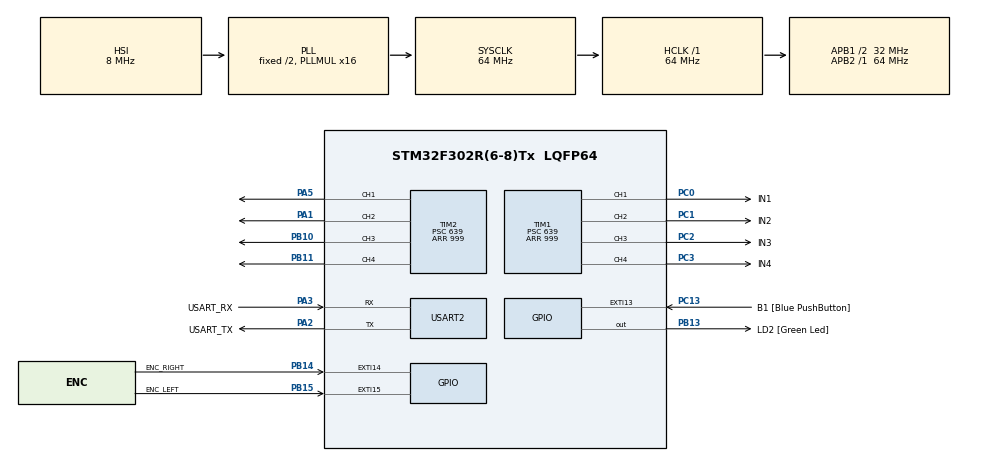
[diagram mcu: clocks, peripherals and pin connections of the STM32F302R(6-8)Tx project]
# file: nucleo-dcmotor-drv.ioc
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Dma.Request0=USART2_RX
Dma.Request1=USART2_TX
Dma.USART2_RX.0.Direction=DMA_PERIPH_TO_MEMORY
Dma.USART2_RX.0.Instance=DMA1_Channel6
Dma.USART2_RX.0.MemDataAlignment=DMA_MDATAALIGN_BYTE
Dma.USART2_RX.0.MemInc=DMA_MINC_ENABLE
Dma.USART2_RX.0.Mode=DMA_CIRCULAR
Dma.USART2_RX.0.PeriphDataAlignment=DMA_PDATAALIGN_BYTE
Dma.USART2_RX.0.PeriphInc=DMA_PINC_DISABLE
Dma.USART2_RX.0.Priority=DMA_PRIORITY_LOW
Dma.USART2_TX.1.Direction=DMA_MEMORY_TO_PERIPH
Dma.USART2_TX.1.Instance=DMA1_Channel7
Dma.USART2_TX.1.MemDataAlignment=DMA_MDATAALIGN_BYTE
Dma.USART2_TX.1.MemInc=DMA_MINC_ENABLE
Dma.USART2_TX.1.Mode=DMA_NORMAL
Dma.USART2_TX.1.PeriphDataAlignment=DMA_PDATAALIGN_BYTE
Dma.USART2_TX.1.PeriphInc=DMA_PINC_DISABLE
Dma.USART2_TX.1.Priority=DMA_PRIORITY_LOW
Mcu.Family=STM32F3
Mcu.Name=STM32F302R(6-8)Tx
Mcu.Package=LQFP64
NVIC.DMA1_Channel6_IRQn=true\:0\:0\:false\:false\:true\:false\:true
NVIC.DMA1_Channel7_IRQn=true\:0\:0\:false\:false\:true\:false\:true
NVIC.EXTI15_10_IRQn=true\:0\:0\:false\:false\:true\:true\:true
NVIC.PriorityGroup=NVIC_PRIORITYGROUP_0
NVIC.TIM1_BRK_TIM15_IRQn=true\:0\:0\:false\:false\:true\:true\:true
NVIC.TIM6_DAC_IRQn=true\:0\:0\:false\:false\:true\:true\:true
NVIC.USART2_IRQn=true\:0\:0\:false\:false\:true\:true\:true
PA1.Signal=S_TIM2_CH2
PA13.GPIO_Label=TMS
PA13.Mode=Serial_Wire
PA13.Signal=SYS_JTMS-SWDIO
PA14.GPIO_Label=TCK
PA14.Mode=Serial_Wire
PA14.Signal=SYS_JTCK-SWCLK
PA2.GPIO_Label=USART_TX
PA2.GPIO_Mode=GPIO_MODE_AF_PP
PA2.GPIO_PuPd=GPIO_NOPULL
PA2.GPIO_Speed=GPIO_SPEED_FREQ_LOW
PA2.Mode=Asynchronous
PA2.Signal=USART2_TX
PA3.GPIO_Label=USART_RX
PA3.GPIO_Mode=GPIO_MODE_AF_PP
PA3.GPIO_PuPd=GPIO_NOPULL
PA3.GPIO_Speed=GPIO_SPEED_FREQ_LOW
PA3.Mode=Asynchronous
PA3.Signal=USART2_RX
PA5.Signal=S_TIM2_CH1_ETR
PB10.Signal=S_TIM2_CH3
PB11.Signal=S_TIM2_CH4
PB13.GPIO_Label=LD2 [Green Led]
PB13.Signal=GPIO_Output
PB14.GPIO_Label=ENC_RIGHT
PB14.GPIO_ModeDefaultEXTI=GPIO_MODE_IT_RISING_FALLING
PB14.Signal=GPXTI14
PB15.GPIO_Label=ENC_LEFT
PB15.GPIO_ModeDefaultEXTI=GPIO_MODE_IT_RISING_FALLING
PB15.Signal=GPXTI15
PB3.GPIO_Label=SWO
PB3.Mode=Trace_Asynchronous_SW
PB3.Signal=SYS_JTDO-TRACESWO
PC0.GPIO_Label=IN1
PC0.Signal=S_TIM1_CH1
PC1.GPIO_Label=IN2
PC1.Signal=S_TIM1_CH2
PC13.GPIO_Label=B1 [Blue PushButton]
PC13.GPIO_ModeDefaultEXTI=GPIO_MODE_IT_FALLING
PC13.Signal=GPXTI13
PC14\ -\ OSC32_IN.Mode=LSE-External-Oscillator
PC14\ -\ OSC32_IN.Signal=RCC_OSC32_IN
PC15\ -\ OSC32_OUT.Mode=LSE-External-Oscillator
PC15\ -\ OSC32_OUT.Signal=RCC_OSC32_OUT
PC2.GPIO_Label=IN3
PC2.Signal=S_TIM1_CH3
PC3.GPIO_Label=IN4
PC3.Signal=S_TIM1_CH4
PF0-OSC_IN.Mode=HSE-External-Clock-Source
PF0-OSC_IN.Signal=RCC_OSC_IN
PF1-OSC_OUT.Signal=RCC_OSC_OUT
ProjectManager.HeapSize=0x200
ProjectManager.StackSize=0x400
ProjectManager.TargetToolchain=STM32CubeIDE
RCC.AHBFreq_Value=64000000
RCC.APB1CLKDivider=RCC_HCLK_DIV2
RCC.APB1Freq_Value=32000000
RCC.APB1TimFreq_Value=64000000
RCC.APB2Freq_Value=64000000
RCC.APB2TimFreq_Value=64000000
RCC.CortexFreq_Value=64000000
RCC.HCLKFreq_Value=64000000
RCC.HSE_VALUE=8000000
RCC.HSI_VALUE=8000000
RCC.PLLM=8
RCC.PLLMUL=RCC_PLL_MUL16
RCC.PLLN=336
RCC.PLLP=RCC_PLLP_DIV4
RCC.PLLQ=7
RCC.RCC_PLLsource_Clock_Source_FROM_HSE=RCC_HSE_PREDIV_DIV2
RCC.SYSCLKFreq_VALUE=64000000
RCC.SYSCLKSourceVirtual=RCC_SYSCLKSOURCE_PLLCLK
RCC.USBFreq_Value=64000000
SH.S_TIM1_CH1.0=TIM1_CH1,PWM Generation1 CH1
SH.S_TIM1_CH2.0=TIM1_CH2,PWM Generation2 CH2
SH.S_TIM1_CH3.0=TIM1_CH3,PWM Generation3 CH3
SH.S_TIM1_CH4.0=TIM1_CH4,PWM Generation4 CH4
SH.S_TIM2_CH1_ETR.0=TIM2_CH1,PWM Generation1 CH1
SH.S_TIM2_CH2.0=TIM2_CH2,PWM Generation2 CH2
SH.S_TIM2_CH3.0=TIM2_CH3,PWM Generation3 CH3
SH.S_TIM2_CH4.0=TIM2_CH4,PWM Generation4 CH4
TIM1.AutoReloadPreload=TIM_AUTORELOAD_PRELOAD_ENABLE
TIM1.Channel-PWM\ Generation1\ CH1=TIM_CHANNEL_1
TIM1.Channel-PWM\ Generation2\ CH2=TIM_CHANNEL_2
TIM1.Channel-PWM\ Generation3\ CH3=TIM_CHANNEL_3
TIM1.Channel-PWM\ Generation4\ CH4=TIM_CHANNEL_4
TIM1.Period=999
TIM1.Prescaler=639
TIM2.AutoReloadPreload=TIM_AUTORELOAD_PRELOAD_ENABLE
TIM2.Channel-PWM\ Generation1\ CH1=TIM_CHANNEL_1
TIM2.Channel-PWM\ Generation2\ CH2=TIM_CHANNEL_2
TIM2.Channel-PWM\ Generation3\ CH3=TIM_CHANNEL_3
TIM2.Channel-PWM\ Generation4\ CH4=TIM_CHANNEL_4
TIM2.Period=999
TIM2.Prescaler=639
TIM6.Period=50000 - 1
TIM6.Prescaler=128 - 1
USART2.VirtualMode-Asynchronous=VM_ASYNC
VP_TIM1_VS_ClockSourceINT.Mode=Internal
VP_TIM2_VS_ClockSourceINT.Mode=Internal
VP_TIM6_VS_ClockSourceINT.Mode=Enable_Timer
board=NUCLEO-F302R8

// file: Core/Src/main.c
/* USER CODE BEGIN Header */
/**
 ******************************************************************************
 * @file           : main.c
 * @brief          : Main program body
 ******************************************************************************
 * @attention
 * DC Motors using DRV8833 Motor Driver
 * <h2><center>&copy; Copyright (c) 2021 STMicroelectronics.
 * All rights reserved.</center></h2>
 *
 * This software component is licensed by ST under BSD 3-Clause license,
 * the "License"; You may not use this file except in compliance with the
 * License. You may obtain a copy of the License at:
 *                        opensource.org/licenses/BSD-3-Clause
 *
 ******************************************************************************
 */
/* USER CODE END Header */
#include "main.h"

TIM_HandleTypeDef htim1;
TIM_HandleTypeDef htim2;
TIM_HandleTypeDef htim6;

UART_HandleTypeDef huart2;
DMA_HandleTypeDef hdma_usart2_rx;
DMA_HandleTypeDef hdma_usart2_tx;

void SystemClock_Config(void);
static void MX_GPIO_Init(void);
static void MX_DMA_Init(void);
static void MX_USART2_UART_Init(void);
static void MX_TIM1_Init(void);
static void MX_TIM2_Init(void);
static void MX_TIM6_Init(void);
/* USER CODE BEGIN PFP */
void stop();
void move(int x, int s_left, int s_right);
void rotate(int x, int s_left, int s_right);
void spin(int x, int s_left, int s_right);

//float target_current;
/* USER CODE END PFP */

/* USER CODE BEGIN 0 */

// PID Controller
#define MOTOR_KP 0.2
#define MOTOR_KI 0
#define MOTOR_KD 0.1

typedef struct PID_t {
	float integral;
	float derivative;
	float last_error;
	float error;
} PID_t;

PID_t pid_left = { .integral = 0, .derivative = 0, .last_error = 0, .error = 0 };
PID_t pid_right = { .integral = 0, .derivative = 0, .last_error = 0, .error = 0 };

volatile uint32_t move_type = 0;
volatile int16_t speed_left = 0;
volatile int16_t speed_right = 0;
volatile uint16_t movement = 0;

volatile float target_rpm = 50.0;
uint8_t tx_data[4];
uint8_t rx_data[10];

extern float speed_rpm_right;
extern float speed_rpm_left;

extern uint32_t ticks_left;
extern uint32_t ticks_right;

void reset_pid() {
	pid_left.integral = 0;
	pid_left.derivative = 0;
	pid_left.last_error = 0;
	pid_right.integral = 0;
	pid_right.derivative = 0;
	pid_right.last_error = 0;
}

int16_t update_pid(PID_t *pid, float current_rpm, uint32_t dt) {
	pid->error = target_rpm - current_rpm;
	pid->integral += pid->error * dt / 1000.0;
	pid->derivative = ((pid->error - pid->last_error) * 1000.0 / dt);
	float result = MOTOR_KP * pid->error +
				   MOTOR_KI * pid->integral +
				   MOTOR_KD * pid->derivative;
	pid->last_error = pid->error;
//	if (result >= 600) {
//		return 600;
//	}
//	if (result <= 0) {
//		return 0;
//	}
	return (int16_t) result;
}

void stop() {
	/***
	 * delay: delay the code for milliseconds
	 */
	TIM1->CCR1 = 0;
	TIM1->CCR2 = 0;
	TIM1->CCR3 = 0;
	TIM1->CCR4 = 0;

	TIM2->CCR1 = 0;
	TIM2->CCR2 = 0;
	TIM2->CCR3 = 0;
	TIM2->CCR4 = 0;
	reset_pid();
}

// back left wheel: TIM2 CCR1 and 2
// back right wheel: TIM2 CCR3 and 4
// front right wheel: TIM1 CCR 3 and 4
// front left wheel: TIM2 CCR 1 and 2
void move(int x, int s_left, int s_right) {
	/***
	 * x: direction. x = 1 to move forward and x = 0 to reverse
	 * s: speed or duty cycle
	 * delay: delay the code for milliseconds
	 */
	uint16_t output_left[] = { s_left, 0 };
	uint16_t output_right[] = { s_right, 0 };
	int i;
	i = (x == 1 ? 1 : 0);
	TIM1->CCR1 = output_left[!i];
	TIM1->CCR2 = output_left[i];
	TIM1->CCR3 = output_right[!i];
	TIM1->CCR4 = output_right[i];

	TIM2->CCR1 = output_left[!i];
	TIM2->CCR2 = output_left[i];
	TIM2->CCR3 = output_right[!i];
	TIM2->CCR4 = output_right[i];
}

void rotate(int x, int s_left, int s_right) {
	/***
	 * x: direction. x = 1 to rotate left and x = 0 to rotate right
	 * s: speed or duty cycle
	 * delay: delay the code for milliseconds
	 */
	uint16_t output_left[] = { s_left, 0 };
	uint16_t output_right[] = { s_right, 0 };
	int i = 1;
	i = (x == 1 ? 1 : 0);
	TIM1->CCR1 = output_left[i];
	TIM1->CCR2 = output_left[!i];
	TIM1->CCR3 = output_right[!i];
	TIM1->CCR4 = output_right[i];

	TIM2->CCR1 = output_left[i];
	TIM2->CCR2 = output_left[!i];
	TIM2->CCR3 = output_right[!i];
	TIM2->CCR4 = output_right[i];
}

void spin(int x, int s_left, int s_right) {
	/***
	 * x: direction. x = 1 to rotate left and x = 0 to rotate right
	 * s: speed or duty cycle
	 * delay: delay the code for milliseconds
	 */
	uint16_t output_left[] = { s_left, 0 };
	uint16_t output_right[] = { s_right, 0 };
	int i = 1;
	i = (x == 1 ? 1 : 0);
	TIM1->CCR1 = output_left[i];
	TIM1->CCR2 = output_left[!i];
	TIM1->CCR3 = output_right[!i];
	TIM1->CCR4 = output_right[i];

	TIM2->CCR1 = output_left[i];
	TIM2->CCR2 = output_left[!i];
	TIM2->CCR3 = output_right[!i];
	TIM2->CCR4 = output_right[i];
}

void HAL_UART_RxCpltCallback(UART_HandleTypeDef *huart) {
	/* Prevent unused argument(s) compilation warning */

	/* NOTE : This function should not be modified, when the callback is needed,
	 the HAL_UART_RxCpltCallback can be implemented in the user file.
	 */

	uint8_t buffer_1 = rx_data[0];
	uint8_t buffer_2 = rx_data[1];
	/*
	 * 16-bit value
	 * received_data[9:0] is for speed
	 * received_data[15:10] is free we use it to represent movement type
	 */
	uint8_t move_bits = buffer_1;
	uint8_t speed_bits = buffer_2;

	switch (speed_bits) {
	case 'h':
		target_rpm = 100;
		break;
	case 'm':
		target_rpm = 50;
		break;
	case 'l':
		target_rpm = 25;
		break;
	case 's':
		target_rpm = 0;
		break;
	default:
		target_rpm = 50;
		break;
	}

	switch (move_bits) {
	case 'b': //Forward
		move_type = 1;
		speed_left = speed_right = 400;
		break;
	case 'c': //Reverse
		move_type = 2;
		speed_left = speed_right = 400;
		break;
	case 'd': //Left
		move_type = 3;
		speed_left = speed_right = 400;
		break;
	case 'e': //Right
		move_type = 4;
		speed_left = speed_right = 400;
		break;
	case 's': //Stop
		move_type = 0;
		break;
	default: //Stop for other characters
		move_type = 0;
		break;
	}

}

/* USER CODE END 0 */

int main(void)
{

  /* MCU Configuration--------------------------------------------------------*/

  /* Reset of all peripherals, Initializes the Flash interface and the Systick. */
  HAL_Init();

  /* Configure the system clock */
  SystemClock_Config();

  /* Initialize all configured peripherals */
  MX_GPIO_Init();
  MX_DMA_Init();
  MX_USART2_UART_Init();
  MX_TIM1_Init();
  MX_TIM2_Init();
  MX_TIM6_Init();
  /* USER CODE BEGIN 2 */
	HAL_TIM_PWM_Start(&htim1, TIM_CHANNEL_1);
	HAL_TIM_PWM_Start(&htim1, TIM_CHANNEL_2);
	HAL_TIM_PWM_Start(&htim1, TIM_CHANNEL_3);
	HAL_TIM_PWM_Start(&htim1, TIM_CHANNEL_4);

	HAL_TIM_PWM_Start(&htim2, TIM_CHANNEL_1);
	HAL_TIM_PWM_Start(&htim2, TIM_CHANNEL_2);
	HAL_TIM_PWM_Start(&htim2, TIM_CHANNEL_3);
	HAL_TIM_PWM_Start(&htim2, TIM_CHANNEL_4);

	HAL_UART_Receive_DMA(&huart2, rx_data, 2);

  /* USER CODE END 2 */

  /* Infinite loop */
  /* USER CODE BEGIN WHILE */
	uint32_t last_timestamp = 0;
	uint32_t timestamp, dt;

	while (1) {
		timestamp = HAL_GetTick();
		dt = timestamp - last_timestamp;
		speed_left += update_pid(&pid_left, speed_rpm_left, dt);
		speed_right += update_pid(&pid_right, speed_rpm_right, dt);
		speed_left = speed_left > 600 ? 600 : (speed_left < 0 ? 0 : speed_left);
		speed_right = speed_right > 600 ? 600 : (speed_right < 0 ? 0 : speed_right);
		//MAX CCR is 600. Don't give beyond this value
		if (move_type == 0) {
			stop();
//			move(1, speed_left, speed_right);
		}
		if (move_type == 1) {
			move(1, speed_left, speed_right);
		}
		if (move_type == 2) {
			move(0, speed_left, speed_right);
		}
		if (move_type == 3) {
			rotate(1, speed_left, speed_right);
		}
		if (move_type == 4) {
			rotate(0, speed_left, speed_right);
		}
    /* USER CODE END WHILE */

    /* USER CODE BEGIN 3 */

		last_timestamp = timestamp;
		HAL_Delay(20);
	}

	//Kind of useless but just in case
	HAL_TIM_PWM_Stop(&htim1, TIM_CHANNEL_1);
	HAL_TIM_PWM_Stop(&htim1, TIM_CHANNEL_2);
	HAL_TIM_PWM_Stop(&htim1, TIM_CHANNEL_3);
	HAL_TIM_PWM_Stop(&htim1, TIM_CHANNEL_4);

	HAL_TIM_PWM_Stop(&htim2, TIM_CHANNEL_1);
	HAL_TIM_PWM_Stop(&htim2, TIM_CHANNEL_2);
	HAL_TIM_PWM_Stop(&htim2, TIM_CHANNEL_3);
	HAL_TIM_PWM_Stop(&htim2, TIM_CHANNEL_4);
  /* USER CODE END 3 */
}

void SystemClock_Config(void)
{
  RCC_OscInitTypeDef RCC_OscInitStruct = {0};
  RCC_ClkInitTypeDef RCC_ClkInitStruct = {0};
  RCC_PeriphCLKInitTypeDef PeriphClkInit = {0};

  /** Initializes the RCC Oscillators according to the specified parameters
  * in the RCC_OscInitTypeDef structure.
  */
  RCC_OscInitStruct.OscillatorType = RCC_OSCILLATORTYPE_HSI;
  RCC_OscInitStruct.HSIState = RCC_HSI_ON;
  RCC_OscInitStruct.HSICalibrationValue = RCC_HSICALIBRATION_DEFAULT;
  RCC_OscInitStruct.PLL.PLLState = RCC_PLL_ON;
  RCC_OscInitStruct.PLL.PLLSource = RCC_PLLSOURCE_HSI;
  RCC_OscInitStruct.PLL.PLLMUL = RCC_PLL_MUL16;
  if (HAL_RCC_OscConfig(&RCC_OscInitStruct) != HAL_OK)
  {
    Error_Handler();
  }
  /** Initializes the CPU, AHB and APB buses clocks
  */
  RCC_ClkInitStruct.ClockType = RCC_CLOCKTYPE_HCLK|RCC_CLOCKTYPE_SYSCLK
                              |RCC_CLOCKTYPE_PCLK1|RCC_CLOCKTYPE_PCLK2;
  RCC_ClkInitStruct.SYSCLKSource = RCC_SYSCLKSOURCE_PLLCLK;
  RCC_ClkInitStruct.AHBCLKDivider = RCC_SYSCLK_DIV1;
  RCC_ClkInitStruct.APB1CLKDivider = RCC_HCLK_DIV2;
  RCC_ClkInitStruct.APB2CLKDivider = RCC_HCLK_DIV1;

  if (HAL_RCC_ClockConfig(&RCC_ClkInitStruct, FLASH_LATENCY_2) != HAL_OK)
  {
    Error_Handler();
  }
  PeriphClkInit.PeriphClockSelection = RCC_PERIPHCLK_TIM1;
  PeriphClkInit.Tim1ClockSelection = RCC_TIM1CLK_HCLK;
  if (HAL_RCCEx_PeriphCLKConfig(&PeriphClkInit) != HAL_OK)
  {
    Error_Handler();
  }
}

static void MX_TIM1_Init(void)
{

  TIM_ClockConfigTypeDef sClockSourceConfig = {0};
  TIM_MasterConfigTypeDef sMasterConfig = {0};
  TIM_OC_InitTypeDef sConfigOC = {0};
  TIM_BreakDeadTimeConfigTypeDef sBreakDeadTimeConfig = {0};

  htim1.Instance = TIM1;
  htim1.Init.Prescaler = 639;
  htim1.Init.CounterMode = TIM_COUNTERMODE_UP;
  htim1.Init.Period = 999;
  htim1.Init.ClockDivision = TIM_CLOCKDIVISION_DIV1;
  htim1.Init.RepetitionCounter = 0;
  htim1.Init.AutoReloadPreload = TIM_AUTORELOAD_PRELOAD_ENABLE;
  if (HAL_TIM_Base_Init(&htim1) != HAL_OK)
  {
    Error_Handler();
  }
  sClockSourceConfig.ClockSource = TIM_CLOCKSOURCE_INTERNAL;
  if (HAL_TIM_ConfigClockSource(&htim1, &sClockSourceConfig) != HAL_OK)
  {
    Error_Handler();
  }
  if (HAL_TIM_PWM_Init(&htim1) != HAL_OK)
  {
    Error_Handler();
  }
  sMasterConfig.MasterOutputTrigger = TIM_TRGO_RESET;
  sMasterConfig.MasterOutputTrigger2 = TIM_TRGO2_RESET;
  sMasterConfig.MasterSlaveMode = TIM_MASTERSLAVEMODE_DISABLE;
  if (HAL_TIMEx_MasterConfigSynchronization(&htim1, &sMasterConfig) != HAL_OK)
  {
    Error_Handler();
  }
  sConfigOC.OCMode = TIM_OCMODE_PWM1;
  sConfigOC.Pulse = 0;
  sConfigOC.OCPolarity = TIM_OCPOLARITY_HIGH;
  sConfigOC.OCNPolarity = TIM_OCNPOLARITY_HIGH;
  sConfigOC.OCFastMode = TIM_OCFAST_DISABLE;
  sConfigOC.OCIdleState = TIM_OCIDLESTATE_RESET;
  sConfigOC.OCNIdleState = TIM_OCNIDLESTATE_RESET;
  if (HAL_TIM_PWM_ConfigChannel(&htim1, &sConfigOC, TIM_CHANNEL_1) != HAL_OK)
  {
    Error_Handler();
  }
  if (HAL_TIM_PWM_ConfigChannel(&htim1, &sConfigOC, TIM_CHANNEL_2) != HAL_OK)
  {
    Error_Handler();
  }
  if (HAL_TIM_PWM_ConfigChannel(&htim1, &sConfigOC, TIM_CHANNEL_3) != HAL_OK)
  {
    Error_Handler();
  }
  if (HAL_TIM_PWM_ConfigChannel(&htim1, &sConfigOC, TIM_CHANNEL_4) != HAL_OK)
  {
    Error_Handler();
  }
  sBreakDeadTimeConfig.OffStateRunMode = TIM_OSSR_DISABLE;
  sBreakDeadTimeConfig.OffStateIDLEMode = TIM_OSSI_DISABLE;
  sBreakDeadTimeConfig.LockLevel = TIM_LOCKLEVEL_OFF;
  sBreakDeadTimeConfig.DeadTime = 0;
  sBreakDeadTimeConfig.BreakState = TIM_BREAK_DISABLE;
  sBreakDeadTimeConfig.BreakPolarity = TIM_BREAKPOLARITY_HIGH;
  sBreakDeadTimeConfig.BreakFilter = 0;
  sBreakDeadTimeConfig.Break2State = TIM_BREAK2_DISABLE;
  sBreakDeadTimeConfig.Break2Polarity = TIM_BREAK2POLARITY_HIGH;
  sBreakDeadTimeConfig.Break2Filter = 0;
  sBreakDeadTimeConfig.AutomaticOutput = TIM_AUTOMATICOUTPUT_DISABLE;
  if (HAL_TIMEx_ConfigBreakDeadTime(&htim1, &sBreakDeadTimeConfig) != HAL_OK)
  {
    Error_Handler();
  }
  HAL_TIM_MspPostInit(&htim1);

}

static void MX_TIM2_Init(void)
{

  TIM_ClockConfigTypeDef sClockSourceConfig = {0};
  TIM_MasterConfigTypeDef sMasterConfig = {0};
  TIM_OC_InitTypeDef sConfigOC = {0};

  htim2.Instance = TIM2;
  htim2.Init.Prescaler = 639;
  htim2.Init.CounterMode = TIM_COUNTERMODE_UP;
  htim2.Init.Period = 999;
  htim2.Init.ClockDivision = TIM_CLOCKDIVISION_DIV1;
  htim2.Init.AutoReloadPreload = TIM_AUTORELOAD_PRELOAD_ENABLE;
  if (HAL_TIM_Base_Init(&htim2) != HAL_OK)
  {
    Error_Handler();
  }
  sClockSourceConfig.ClockSource = TIM_CLOCKSOURCE_INTERNAL;
  if (HAL_TIM_ConfigClockSource(&htim2, &sClockSourceConfig) != HAL_OK)
  {
    Error_Handler();
  }
  if (HAL_TIM_PWM_Init(&htim2) != HAL_OK)
  {
    Error_Handler();
  }
  sMasterConfig.MasterOutputTrigger = TIM_TRGO_RESET;
  sMasterConfig.MasterSlaveMode = TIM_MASTERSLAVEMODE_DISABLE;
  if (HAL_TIMEx_MasterConfigSynchronization(&htim2, &sMasterConfig) != HAL_OK)
  {
    Error_Handler();
  }
  sConfigOC.OCMode = TIM_OCMODE_PWM1;
  sConfigOC.Pulse = 0;
  sConfigOC.OCPolarity = TIM_OCPOLARITY_HIGH;
  sConfigOC.OCFastMode = TIM_OCFAST_DISABLE;
  if (HAL_TIM_PWM_ConfigChannel(&htim2, &sConfigOC, TIM_CHANNEL_1) != HAL_OK)
  {
    Error_Handler();
  }
  if (HAL_TIM_PWM_ConfigChannel(&htim2, &sConfigOC, TIM_CHANNEL_2) != HAL_OK)
  {
    Error_Handler();
  }
  if (HAL_TIM_PWM_ConfigChannel(&htim2, &sConfigOC, TIM_CHANNEL_3) != HAL_OK)
  {
    Error_Handler();
  }
  if (HAL_TIM_PWM_ConfigChannel(&htim2, &sConfigOC, TIM_CHANNEL_4) != HAL_OK)
  {
    Error_Handler();
  }
  HAL_TIM_MspPostInit(&htim2);

}

static void MX_TIM6_Init(void)
{

  TIM_MasterConfigTypeDef sMasterConfig = {0};

  htim6.Instance = TIM6;
  htim6.Init.Prescaler = 128 - 1;
  htim6.Init.CounterMode = TIM_COUNTERMODE_UP;
  htim6.Init.Period = 50000 - 1;
  htim6.Init.AutoReloadPreload = TIM_AUTORELOAD_PRELOAD_DISABLE;
  if (HAL_TIM_Base_Init(&htim6) != HAL_OK)
  {
    Error_Handler();
  }
  sMasterConfig.MasterOutputTrigger = TIM_TRGO_RESET;
  sMasterConfig.MasterSlaveMode = TIM_MASTERSLAVEMODE_DISABLE;
  if (HAL_TIMEx_MasterConfigSynchronization(&htim6, &sMasterConfig) != HAL_OK)
  {
    Error_Handler();
  }
  /* USER CODE BEGIN TIM6_Init 2 */
	HAL_TIM_Base_Init(&htim6);
	HAL_TIM_Base_Start_IT(&htim6);
  /* USER CODE END TIM6_Init 2 */

}

static void MX_USART2_UART_Init(void)
{

  huart2.Instance = USART2;
  huart2.Init.BaudRate = 38400;
  huart2.Init.WordLength = UART_WORDLENGTH_8B;
  huart2.Init.StopBits = UART_STOPBITS_1;
  huart2.Init.Parity = UART_PARITY_NONE;
  huart2.Init.Mode = UART_MODE_TX_RX;
  huart2.Init.HwFlowCtl = UART_HWCONTROL_NONE;
  huart2.Init.OverSampling = UART_OVERSAMPLING_16;
  huart2.Init.OneBitSampling = UART_ONE_BIT_SAMPLE_DISABLE;
  huart2.AdvancedInit.AdvFeatureInit = UART_ADVFEATURE_NO_INIT;
  if (HAL_UART_Init(&huart2) != HAL_OK)
  {
    Error_Handler();
  }

}

static void MX_DMA_Init(void)
{

  /* DMA controller clock enable */
  __HAL_RCC_DMA1_CLK_ENABLE();

  /* DMA interrupt init */
  /* DMA1_Channel6_IRQn interrupt configuration */
  HAL_NVIC_SetPriority(DMA1_Channel6_IRQn, 0, 0);
  HAL_NVIC_EnableIRQ(DMA1_Channel6_IRQn);
  /* DMA1_Channel7_IRQn interrupt configuration */
  HAL_NVIC_SetPriority(DMA1_Channel7_IRQn, 0, 0);
  HAL_NVIC_EnableIRQ(DMA1_Channel7_IRQn);

}

static void MX_GPIO_Init(void)
{
  GPIO_InitTypeDef GPIO_InitStruct = {0};

  /* GPIO Ports Clock Enable */
  __HAL_RCC_GPIOC_CLK_ENABLE();
  __HAL_RCC_GPIOF_CLK_ENABLE();
  __HAL_RCC_GPIOA_CLK_ENABLE();
  __HAL_RCC_GPIOB_CLK_ENABLE();

  /*Configure GPIO pin Output Level */
  HAL_GPIO_WritePin(LD2_GPIO_Port, LD2_Pin, GPIO_PIN_RESET);

  /*Configure GPIO pin : B1_Pin */
  GPIO_InitStruct.Pin = B1_Pin;
  GPIO_InitStruct.Mode = GPIO_MODE_IT_FALLING;
  GPIO_InitStruct.Pull = GPIO_NOPULL;
  HAL_GPIO_Init(B1_GPIO_Port, &GPIO_InitStruct);

  /*Configure GPIO pin : LD2_Pin */
  GPIO_InitStruct.Pin = LD2_Pin;
  GPIO_InitStruct.Mode = GPIO_MODE_OUTPUT_PP;
  GPIO_InitStruct.Pull = GPIO_NOPULL;
  GPIO_InitStruct.Speed = GPIO_SPEED_FREQ_LOW;
  HAL_GPIO_Init(LD2_GPIO_Port, &GPIO_InitStruct);

  /*Configure GPIO pins : ENC_RIGHT_Pin ENC_LEFT_Pin */
  GPIO_InitStruct.Pin = ENC_RIGHT_Pin|ENC_LEFT_Pin;
  GPIO_InitStruct.Mode = GPIO_MODE_IT_RISING_FALLING;
  GPIO_InitStruct.Pull = GPIO_NOPULL;
  HAL_GPIO_Init(GPIOB, &GPIO_InitStruct);

  /* EXTI interrupt init*/
  HAL_NVIC_SetPriority(EXTI15_10_IRQn, 0, 0);
  HAL_NVIC_EnableIRQ(EXTI15_10_IRQn);

}

void Error_Handler(void)
{
	__disable_irq();
	while (1) {
	}
}

/************************ (C) COPYRIGHT STMicroelectronics *****END OF FILE****/
